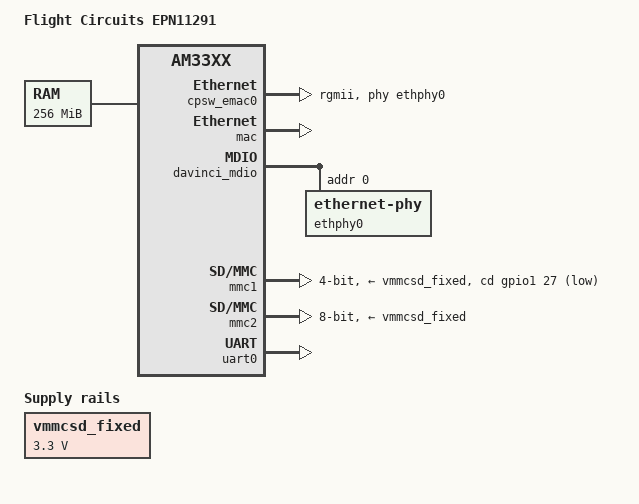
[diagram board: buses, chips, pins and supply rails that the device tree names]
// SPDX-License-Identifier: GPL-2.0
/*
 * support for the Flight Circuits EPN11291

 * Copyright, (C) 2020 Flight Circuits, LLC <adam@flightcircuits.com>
 *
 */
 // epn11291.dts

/dts-v1/;

#include "am33xx.dtsi"
#include <dt-bindings/input/input.h>

/ {
	model = "Flight Circuits EPN11291";
	compatible = "ti,am33xx";
	chosen {
		stdout-path = &uart0;
		tick-timer = &timer2;
	};

	memory@80000000 {
		device_type = "memory";
		reg = <0x80000000 0x10000000>; /* 256 MB */
	};
	// added RWL
        vmmcsd_fixed: fixedregulator@0 {
                compatible = "regulator-fixed";
                regulator-name = "vmmcsd_fixed";
                regulator-min-microvolt = <3300000>;
                regulator-max-microvolt = <3300000>;
        };

};


&am33xx_pinmux {
	u-boot,dm-spl;

	pinctrl-names = "default";

	cpsw_default: cpsw_default {
		pinctrl-single,pins = <
			/* Slave 1 */
			0x114 (PIN_OUTPUT_PULLDOWN | MUX_MODE2)	/* mii1_txen.rgmii1_tctl */
			0x118 (PIN_INPUT_PULLDOWN | MUX_MODE2)	/* mii1_rxdv.rgmii1_rctl */
			0x11c (PIN_OUTPUT_PULLDOWN | MUX_MODE2)	/* mii1_txd3.rgmii1_td3 */
			0x120 (PIN_OUTPUT_PULLDOWN | MUX_MODE2)	/* mii1_txd2.rgmii1_td2 */
			0x124 (PIN_OUTPUT_PULLDOWN | MUX_MODE2)	/* mii1_txd1.rgmii1_td1 */
			0x128 (PIN_OUTPUT_PULLDOWN | MUX_MODE2)	/* mii1_txd0.rgmii1_td0 */
			0x12c (PIN_OUTPUT_PULLDOWN | MUX_MODE2)	/* mii1_txclk.rgmii1_tclk */
			0x130 (PIN_INPUT_PULLDOWN | MUX_MODE2)	/* mii1_rxclk.rgmii1_rclk */
			0x134 (PIN_INPUT_PULLDOWN | MUX_MODE2)	/* mii1_rxd3.rgmii1_rd3 */
			0x138 (PIN_INPUT_PULLDOWN | MUX_MODE2)	/* mii1_rxd2.rgmii1_rd2 */
			0x13c (PIN_INPUT_PULLDOWN | MUX_MODE2)	/* mii1_rxd1.rgmii1_rd1 */
			0x140 (PIN_INPUT_PULLDOWN | MUX_MODE2)	/* mii1_rxd0.rgmii1_rd0 */
		>;
	};

	cpsw_sleep: cpsw_sleep {
		pinctrl-single,pins = <
			/* Slave 1 reset value */
			0x114 (PIN_INPUT_PULLDOWN | MUX_MODE7)
			0x118 (PIN_INPUT_PULLDOWN | MUX_MODE7)
			0x11c (PIN_INPUT_PULLDOWN | MUX_MODE7)
			0x120 (PIN_INPUT_PULLDOWN | MUX_MODE7)
			0x124 (PIN_INPUT_PULLDOWN | MUX_MODE7)
			0x128 (PIN_INPUT_PULLDOWN | MUX_MODE7)
			0x12c (PIN_INPUT_PULLDOWN | MUX_MODE7)
			0x130 (PIN_INPUT_PULLDOWN | MUX_MODE7)
			0x134 (PIN_INPUT_PULLDOWN | MUX_MODE7)
			0x138 (PIN_INPUT_PULLDOWN | MUX_MODE7)
			0x13c (PIN_INPUT_PULLDOWN | MUX_MODE7)
			0x140 (PIN_INPUT_PULLDOWN | MUX_MODE7)
		>;
	};

	davinci_mdio_default: davinci_mdio_default {
		pinctrl-single,pins = <
			0x148 (PIN_INPUT_PULLUP | SLEWCTRL_FAST | MUX_MODE0)	/* mdio_data.mdio_data */
			0x14c (PIN_OUTPUT_PULLUP | MUX_MODE0)			/* mdio_clk.mdio_clk */
		>;
	};

	davinci_mdio_sleep: davinci_mdio_sleep {
		pinctrl-single,pins = <
			/* MDIO reset value */
			0x148 (PIN_INPUT_PULLDOWN | MUX_MODE7)
			0x14c (PIN_INPUT_PULLDOWN | MUX_MODE7)
		>;
	};

	/* see section 9.3.1 - Control Module Registers */
	mmc0_pins: pinmux-mmc0-pins {
		u-boot,dm-spl;
		pinctrl-single,pins = <
			0x06C (PIN_INPUT_PULLUP | MUX_MODE7)    /* (V17) gpmc_a11 gpio1_2  CD, pullup on board */
			0x0fc (PIN_INPUT_PULLUP | MUX_MODE0)	/* (G16) mmc0_dat0.mmc0_dat0 */
			0x0f8 (PIN_INPUT_PULLUP | MUX_MODE0)	/* (G15) mmc0_dat1.mmc0_dat1 */
			0x0f4 (PIN_INPUT_PULLUP | MUX_MODE0)	/* (F18) mmc0_dat2.mmc0_dat2 */
			0x0f0 (PIN_INPUT_PULLUP | MUX_MODE0)	/* (F17) mmc0_dat3.mmc0_dat3 */
			0x104 (PIN_INPUT_PULLUP | MUX_MODE0)	/* (G18) mmc0_cmd.mmc0_cmd */
			0x100 (PIN_INPUT_PULLUP | MUX_MODE0)	/* (G17) mmc0_clk.mmc0_clk */
		>;
	};

	emmc_pins: pinmux_emmc_pins {
		u-boot,dm-spl;
		pinctrl-single,pins = <
			0x080 (PIN_INPUT | MUX_MODE2)			//eMMC_CLK
			0x084 (PIN_INPUT_PULLUP | MUX_MODE2)	//eMMC_CMD
			0x000 (PIN_INPUT_PULLUP | MUX_MODE1)	//eMMC_D0
			0x004 (PIN_INPUT_PULLUP | MUX_MODE1)	//eMMC_D1
			0x008 (PIN_INPUT_PULLUP | MUX_MODE1)	//eMMC_D2
			0x00c (PIN_INPUT_PULLUP | MUX_MODE1)	//eMMC_D3
			0x010 (PIN_INPUT_PULLUP | MUX_MODE1)	//eMMC_D4
			0x014 (PIN_INPUT_PULLUP | MUX_MODE1)	//eMMC_D5
			0x018 (PIN_INPUT_PULLUP | MUX_MODE1)	//eMMC_D6
			0x01c (PIN_INPUT_PULLUP | MUX_MODE1)	//eMMC_D7
		>;
	};


	uart0_pins: pinmux_uart0_pins {
		u-boot,dm-spl;
		pinctrl-single,pins = <
			0x170 (PIN_INPUT_PULLUP | MUX_MODE0)	//UART0_RX
			0x174 (PIN_OUTPUT_PULLDOWN | MUX_MODE0)	//UAERT0_TX
		>;
	};

};

&cpsw_emac0 {
	u-boot,dm-spl;
	phy-handle = <&ethphy0>;
	phy-mode = "rgmii";
};

&mac {
	u-boot,dm-spl;
	slaves = <1>;
	pinctrl-names = "default", "sleep";
	pinctrl-0 = <&cpsw_default>;
	pinctrl-1 = <&cpsw_sleep>;
	status = "okay";
};

&davinci_mdio {
	u-boot,dm-spl;
	pinctrl-names = "default", "sleep";
	pinctrl-0 = <&davinci_mdio_default>;
	pinctrl-1 = <&davinci_mdio_sleep>;
	status = "okay";

	ethphy0: ethernet-phy@0{
		reg = <0>;
	};
};

/* SD Card */
&mmc1 {
	u-boot,dm-spl;
	max-frequency = <50000000>;
	bus-width = <4>;
	// added RWL
	vmmc-supply = <&vmmcsd_fixed>;
	status = "okay";
	pinctrl-names = "default";
	pinctrl-0 = <&mmc0_pins>;
	cd-gpios = <&gpio1 27 GPIO_ACTIVE_LOW>;
	// disable-wp;
};

&mmc2 {
	u-boot,dm-spl;
	pinctrl-names = "default";
	pinctrl-0 = <&emmc_pins>;
	bus-width = <8>;
	// added RWL
	vmmc-supply = <&vmmcsd_fixed>;
	ti,non-removable;
	max-frequency = <96000000>;
	status = "okay";
};

&uart0 {
	u-boot,dm-spl;
	pinctrl-names = "default";
	pinctrl-0 = <&uart0_pins>;
	status = "okay";
};

&cppi41dma  {
	u-boot,dm-spl;
	status = "okay";
};
